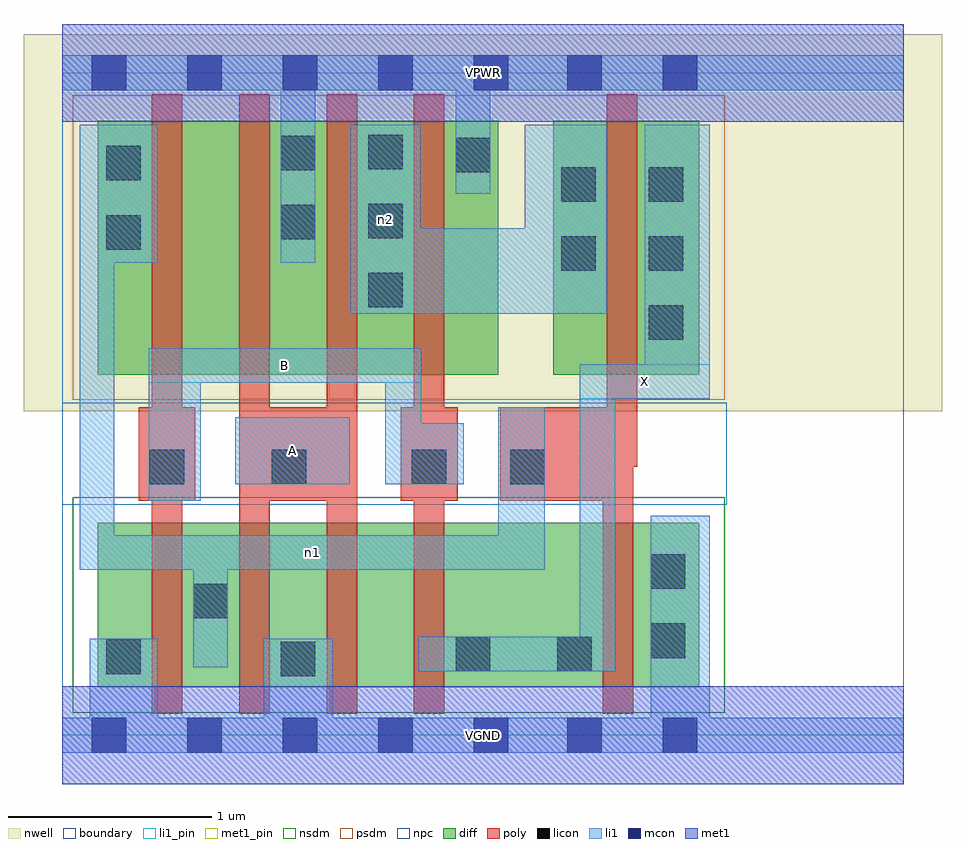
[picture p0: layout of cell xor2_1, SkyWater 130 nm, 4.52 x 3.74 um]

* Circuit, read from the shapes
.subckt xor2_1 A B VGND VPWR X n1 n2
XM1 n1 B VGND VSUBS sky130_fd_pr__nfet_01v8 w=0.81 l=0.15
XM2 VGND A n1 VSUBS sky130_fd_pr__nfet_01v8 w=0.81 l=0.15
XM3 n3 A VGND VSUBS sky130_fd_pr__nfet_01v8 w=0.81 l=0.15
XM4 X B n3 VSUBS sky130_fd_pr__nfet_01v8 w=0.81 l=0.15
XM5 VGND n1 X VSUBS sky130_fd_pr__nfet_01v8 w=0.81 l=0.15
XM6 n4 B n1 n5 sky130_fd_pr__pfet_01v8 w=1.25 l=0.15
XM7 VPWR A n4 n5 sky130_fd_pr__pfet_01v8 w=1.25 l=0.15
XM8 n2 A VPWR n5 sky130_fd_pr__pfet_01v8 w=1.25 l=0.15
XM9 VPWR B n2 n5 sky130_fd_pr__pfet_01v8 w=1.25 l=0.15
XM10 X n1 n2 n5 sky130_fd_pr__pfet_01v8 w=1.25 l=0.15
.ends

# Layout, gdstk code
import gdstk
lib = gdstk.Library(unit=1e-6, precision=1e-09)
def R(c, l, rs):  # rectangles x0, y0, x1, y1
    for r in rs: c.add(gdstk.rectangle(r[:2], r[2:], *l))
def A(c, l, x, y, w, h, nx, ny, dx, dy):  # array of equal rectangles
    R(c, l, [(x+i*dx, y+j*dy, x+i*dx+w, y+j*dy+h) for i in range(nx) for j in range(ny)])
nwell = (64, 20)
diff = (65, 20)
poly = (66, 20)
licon = (66, 44)
li1_pin = (67, 16)
li1 = (67, 20)
mcon = (67, 44)
met1_pin = (68, 16)
met1 = (68, 20)
nsdm = (93, 44)
psdm = (94, 20)
npc = (95, 20)
boundary = (235, 4)

xor2_1 = lib.new_cell('xor2_1')
R(xor2_1, nwell, [(-0.19,1.595,4.33,3.45), (0,1.595,4.14,3.45)])
R(xor2_1, diff, [(0.175,0.235,3.135,1.045), (0.175,1.775,2.145,3.025), (2.415,1.775,3.135,3.025)])
A(xor2_1, poly, 0.44, 0.105, 0.15, 3.05, 4, 1, 0.43, 0)
R(xor2_1, poly, [(2.66,0.105,2.81,1.615), (0.375,1.155,0.655,1.615), (0.87,1.155,1.45,1.615), (1.665,1.155,1.945,1.615), (2.155,1.155,2.81,1.615), (2.68,1.32,2.83,3.155)])
A(xor2_1, licon, 2.885, 1.945, 0.17, 0.17, 1, 3, 0, 0.34)
A(xor2_1, licon, 1.505, 2.105, 0.17, 0.17, 1, 3, 0, 0.34)
R(xor2_1, licon, [(1.075,0.29,1.245,0.46), (0.215,0.3,0.385,0.47), (1.935,0.315,2.105,0.485), (2.435,0.315,2.605,0.485), (2.895,0.38,3.065,0.55), (0.645,0.575,0.815,0.745), (2.895,0.72,3.065,0.89), (0.43,1.235,0.6,1.405), (1.03,1.235,1.2,1.405), (1.72,1.235,1.89,1.405), (2.205,1.235,2.375,1.405), (2.455,2.285,2.625,2.455), (0.215,2.39,0.385,2.56), (1.075,2.44,1.245,2.61), (2.455,2.625,2.625,2.795), (0.215,2.73,0.385,2.9), (1.935,2.77,2.105,2.94), (1.075,2.78,1.245,2.95)])
R(xor2_1, li1_pin, [(0.85,1.235,1.415,1.565), (2.545,1.655,3.185,1.825), (0.425,1.735,1.765,1.905)])
R(xor2_1, li1, [(0,-0.085,4.14,0.085), (0.135,-0.085,0.47,0.475), (0.99,-0.085,1.33,0.475), (2.895,-0.085,3.185,1.08), (1.755,0.315,2.72,0.485), (2.545,0.315,2.72,1.825), (0.645,0.335,0.815,0.985), (0.085,0.815,2.375,0.985), (0.085,0.815,0.255,3.005), (2.145,0.815,2.375,1.615), (0.425,1.155,0.68,1.905), (0.85,1.235,1.415,1.565), (1.59,1.235,1.975,1.535), (1.59,1.235,1.765,1.905), (2.545,1.655,3.185,1.825), (2.865,1.655,3.185,3.005), (0.425,1.735,1.765,1.905), (1.42,2.075,1.76,3.005), (1.42,2.075,2.68,2.495), (2.275,2.075,2.68,3.005), (0.085,2.325,0.47,3.005), (1.075,2.325,1.245,3.345), (1.935,2.665,2.105,3.345), (0,3.175,4.14,3.345)])
A(xor2_1, mcon, 0.145, -0.085, 0.17, 0.17, 5, 2, 0.47, 3.26)
R(xor2_1, mcon, [(2.485,-0.085,2.655,0.085), (2.955,-0.085,3.125,0.085), (2.485,3.175,2.655,3.345), (2.955,3.175,3.125,3.345)])
R(xor2_1, met1_pin, [(0,-0.24,4.14,0.24), (0,3.02,4.14,3.5)])
R(xor2_1, met1, [(0,-0.24,4.14,0.24), (0,3.02,4.14,3.5)])
R(xor2_1, nsdm, [(0.05,0.11,3.26,1.17)])
R(xor2_1, psdm, [(0.05,1.65,3.26,3.15)])
R(xor2_1, npc, [(0,1.135,3.27,1.635)])
R(xor2_1, boundary, [(0,0,4.14,3.26)])
xor2_1.add(gdstk.Label('A', (1.132,1.4), layer=67, texttype=5))
xor2_1.add(gdstk.Label('B', (1.095,1.82), layer=67, texttype=5))
xor2_1.add(gdstk.Label('X', (2.865,1.74), layer=67, texttype=5))
xor2_1.add(gdstk.Label('n1', (1.23,0.9), layer=67, texttype=5))
xor2_1.add(gdstk.Label('n2', (1.59,2.54), layer=67, texttype=5))
xor2_1.add(gdstk.Label('VPWR', (2.07,3.26), layer=68, texttype=5))
xor2_1.add(gdstk.Label('VGND', (2.07,0), layer=68, texttype=5))
xor2_1.add(gdstk.Label('A', (1.132,1.4), layer=67, texttype=16))
xor2_1.add(gdstk.Label('B', (1.095,1.82), layer=67, texttype=16))
xor2_1.add(gdstk.Label('X', (2.865,1.74), layer=67, texttype=16))
xor2_1.add(gdstk.Label('VPWR', (2.07,3.26), layer=68, texttype=16))
xor2_1.add(gdstk.Label('VGND', (2.07,0), layer=68, texttype=16))

lib.write_gds('xor2_1.gds')
